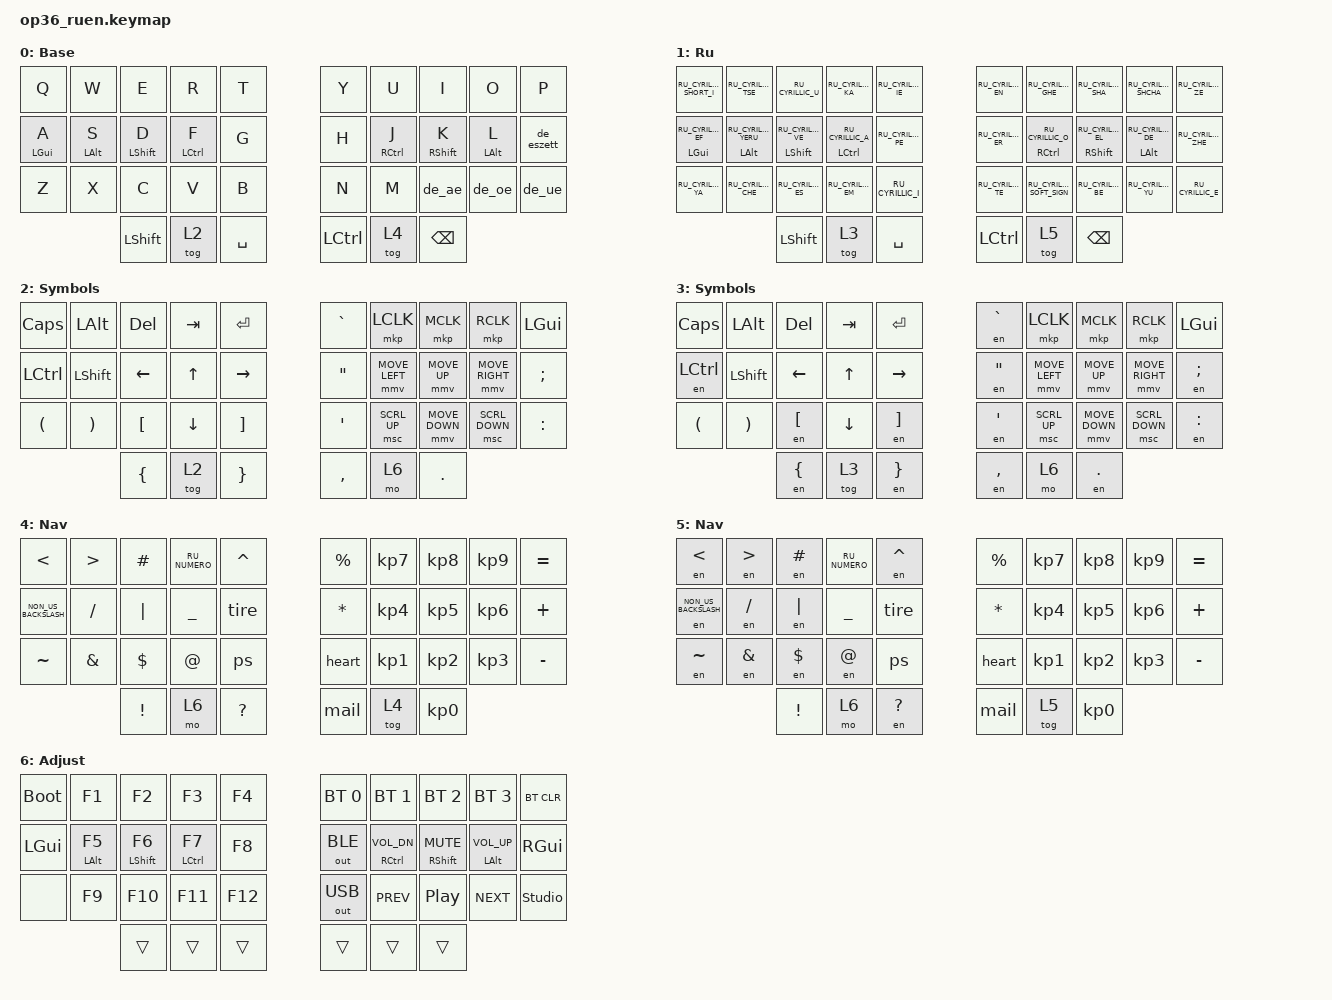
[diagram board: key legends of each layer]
#include "keys_ru.h"
#include "keys_ru.h"
#include <behaviors.dtsi>
#include <dt-bindings/zmk/bt.h>
#include <dt-bindings/zmk/keys.h>
#include <dt-bindings/zmk/outputs.h>
#include <dt-bindings/zmk/pointing.h>

#define HOST_OS 1

#include "zmk-helpers/helper.h"
#include "zmk-helpers/unicode-chars/german.dtsi"

&mt {
    quick-tap-ms = <200>;
    flavor = "tap-preferred";
    require-prior-idle-ms = <125>;
};

/ {
    behaviors {
        hml: home_row_mod_left {
            compatible = "zmk,behavior-hold-tap";
            #binding-cells = <2>;
            flavor = "balanced";
            require-prior-idle-ms = <150>;
            tapping-term-ms = <280>;
            quick-tap-ms = <175>;
            bindings = <&kp>, <&kp>;

            hold-trigger-key-positions = <5 6 7 8 9 15 16 17 18 19 25 26 27 28 29 33 34 35>;
            hold-trigger-on-release;
        };

        hmr: home_row_mod_right {
            compatible = "zmk,behavior-hold-tap";
            #binding-cells = <2>;
            flavor = "balanced";
            require-prior-idle-ms = <150>;
            tapping-term-ms = <280>;
            quick-tap-ms = <175>;
            bindings = <&kp>, <&kp>;

            hold-trigger-key-positions = <0 1 2 3 4 10 11 12 13 14 20 21 22 23 24 30 31 32>;
            hold-trigger-on-release;
        };
    };

    combos {
        compatible = "zmk,combos";

        kha {
            bindings = <&kp RU_CYRILLIC_HA>;
            key-positions = <6 7>;
            layers = <1>;
        };

        hrdsgn {
            bindings = <&kp RU_CYRILLIC_HARD_SIGN>;
            key-positions = <7 8>;
            layers = <1>;
        };

        cmben {
            bindings = <&layer_en>;
            key-positions = <2 3>;
            layers = <1>;
        };

        cmbru {
            bindings = <&layer_ru>;
            key-positions = <2 3>;
            layers = <0>;
        };

        yo {
            bindings = <&kp RU_CYRILLIC_IO>;
            key-positions = <3 4>;
        };
    };

    macros {
        to_ru: to_ru {
            compatible = "zmk,behavior-macro";
            #binding-cells = <0>;
            bindings = <&kp LG(SPACE)>;
            label = "TO_RU";
            wait-ms = <0>;
            tap-ms = <30>;
        };

        to_en: to_en {
            compatible = "zmk,behavior-macro";
            #binding-cells = <0>;
            bindings = <&kp LS(LG(SPACE))>;
            label = "TO_EN";
            wait-ms = <0>;
            tap-ms = <30>;
        };

        layer_en: layer_en {
            compatible = "zmk,behavior-macro";
            #binding-cells = <0>;
            bindings = <&to 0 &to_en>;
            label = "LAYER_EN";
            wait-ms = <0>;
            tap-ms = <30>;
        };

        layer_ru: layer_ru {
            compatible = "zmk,behavior-macro";
            #binding-cells = <0>;
            bindings = <&to 1 &to_ru>;
            label = "LAYER_RU";
            tap-ms = <30>;
            wait-ms = <0>;
        };

        en: en {
            compatible = "zmk,behavior-macro-one-param";
            #binding-cells = <1>;
            bindings =
                <&to_en>,
                <&macro_press>,
                <&macro_param_1to1 &kp MACRO_PLACEHOLDER>,
                <&macro_pause_for_release>,
                <&macro_release>,
                <&macro_param_1to1 &kp MACRO_PLACEHOLDER>,
                <&macro_tap>,
                <&to_ru>;

            label = "EN";
            wait-ms = <0>;
            tap-ms = <30>;
        };

        mail: mail {
            compatible = "zmk,behavior-macro";
            #binding-cells = <0>;
            bindings = <&kp M &kp A &kp R &kp G &kp A &kp R &kp E &kp T &kp DOT &kp O &kp R &kp O &kp B &kp E &kp T &kp S &kp AT &kp G &kp M &kp A &kp I &kp L &kp DOT &kp C &kp O &kp M>;
            label = "MAIL";
        };

        heart: heart {
            compatible = "zmk,behavior-macro";
            #binding-cells = <0>;
            bindings = <&sk LC(LS(U)) &kp N2 &kp N6 &kp N6 &kp N1 &kp SPACE>;
        };

        tire: tire {
            compatible = "zmk,behavior-macro";
            #binding-cells = <0>;
            bindings = <&sk LC(LS(U)) &kp N2 &kp N0 &kp N1 &kp N4 &kp SPACE>;
        };

        ps: ps {
            compatible = "zmk,behavior-macro";
            #binding-cells = <0>;
            bindings = <&kp N2 &kp N0 &kp N2 &kp N6>;
            label = "PS";
        };
    };

    keymap {
        compatible = "zmk,keymap";

        en {
            bindings = <
  &kp Q        &kp W        &kp E         &kp R           &kp T                                  &kp Y   &kp U          &kp I         &kp O        &kp P
  &hml LGUI A  &hml LALT S  &hml LSHFT D  &hml LCTRL F    &kp G                                  &kp H   &hmr RCTRL J   &hmr RSHFT K  &hmr LALT L  &de_eszett
  &kp Z        &kp X        &kp C         &kp V           &kp B                                  &kp N   &kp M          &de_ae        &de_oe       &de_ue
                                          &kp LEFT_SHIFT  &tog 2  &kp SPACE    &kp LEFT_CONTROL  &tog 4  &kp BACKSPACE
            >;

            display-name = "Base";
        };

        ru {
            bindings = <
  &kp RU_CYRILLIC_SHORT_I   &kp RU_CYRILLIC_TSE         &kp RU_CYRILLIC_U          &kp RU_CYRILLIC_KA        &kp RU_CYRILLIC_IE                                 &kp RU_CYRILLIC_EN  &kp RU_CYRILLIC_GHE        &kp RU_CYRILLIC_SHA        &kp RU_CYRILLIC_SHCHA     &kp RU_CYRILLIC_ZE
  &hml LGUI RU_CYRILLIC_EF  &hml LALT RU_CYRILLIC_YERU  &hml LSHFT RU_CYRILLIC_VE  &hml LCTRL RU_CYRILLIC_A  &kp RU_CYRILLIC_PE                                 &kp RU_CYRILLIC_ER  &hmr RCTRL RU_CYRILLIC_O   &hmr RSHFT RU_CYRILLIC_EL  &hmr LALT RU_CYRILLIC_DE  &kp RU_CYRILLIC_ZHE
  &kp RU_CYRILLIC_YA        &kp RU_CYRILLIC_CHE         &kp RU_CYRILLIC_ES         &kp RU_CYRILLIC_EM        &kp RU_CYRILLIC_I                                  &kp RU_CYRILLIC_TE  &kp RU_CYRILLIC_SOFT_SIGN  &kp RU_CYRILLIC_BE         &kp RU_CYRILLIC_YU        &kp RU_CYRILLIC_E
                                                                                   &kp LEFT_SHIFT            &tog 3              &kp SPACE    &kp LEFT_CONTROL  &tog 5              &kp BACKSPACE
            >;

            display-name = "Ru";
        };

        sym_en {
            bindings = <
  &kp CAPSLOCK          &kp LEFT_ALT           &kp DELETE        &kp TAB         &kp ENTER                                        &kp GRAVE          &mkp LCLK       &mkp MCLK       &mkp RCLK        &kp LEFT_GUI
  &kp LEFT_CONTROL      &kp LEFT_SHIFT         &kp LEFT          &kp UP          &kp RIGHT_ARROW                                  &kp DOUBLE_QUOTES  &mmv MOVE_LEFT  &mmv MOVE_UP    &mmv MOVE_RIGHT  &kp SEMICOLON
  &kp LEFT_PARENTHESIS  &kp RIGHT_PARENTHESIS  &kp LEFT_BRACKET  &kp DOWN_ARROW  &kp RIGHT_BRACKET                                &kp APOSTROPHE     &msc SCRL_UP    &mmv MOVE_DOWN  &msc SCRL_DOWN   &kp COLON
                                                                 &kp LEFT_BRACE  &tog 2             &kp RIGHT_BRACE    &kp COMMA  &mo 6              &kp PERIOD
            >;

            display-name = "Symbols";
        };

        sym_ru {
            bindings = <
  &kp CAPSLOCK          &kp LEFT_ALT           &kp DELETE        &kp TAB         &kp ENTER                                        &en GRAVE          &mkp LCLK       &mkp MCLK       &mkp RCLK        &kp LEFT_GUI
  &en LEFT_CONTROL      &kp LEFT_SHIFT         &kp LEFT          &kp UP          &kp RIGHT_ARROW                                  &en DOUBLE_QUOTES  &mmv MOVE_LEFT  &mmv MOVE_UP    &mmv MOVE_RIGHT  &en SEMICOLON
  &kp LEFT_PARENTHESIS  &kp RIGHT_PARENTHESIS  &en LEFT_BRACKET  &kp DOWN_ARROW  &en RIGHT_BRACKET                                &en APOSTROPHE     &msc SCRL_UP    &mmv MOVE_DOWN  &msc SCRL_DOWN   &en COLON
                                                                 &en LEFT_BRACE  &tog 3             &en RIGHT_BRACE    &en COMMA  &mo 6              &en PERIOD
            >;

            display-name = "Symbols";
        };

        sym_2_en {
            bindings = <
  &kp LESS_THAN         &kp GREATER_THAN  &kp POUND   &kp RU_NUMERO    &kp CARET                         &kp PERCENT   &kp KP_NUMBER_7  &kp KP_NUMBER_8  &kp KP_NUMBER_9  &kp EQUAL
  &kp NON_US_BACKSLASH  &kp SLASH         &kp PIPE    &kp UNDERSCORE   &tire                             &kp ASTERISK  &kp KP_NUMBER_4  &kp KP_NUMBER_5  &kp KP_NUMBER_6  &kp PLUS
  &kp TILDE             &kp AMPERSAND     &kp DOLLAR  &kp AT_SIGN      &ps                               &heart        &kp KP_NUMBER_1  &kp KP_NUMBER_2  &kp KP_NUMBER_3  &kp MINUS
                                                      &kp EXCLAMATION  &mo 6      &kp QUESTION    &mail  &tog 4        &kp KP_NUMBER_0
            >;

            display-name = "Nav";
        };

        sym_2_ru {
            display-name = "Nav";
            bindings = <
  &en LESS_THAN         &en GREATER_THAN  &en POUND   &kp RU_NUMERO    &en CARET                         &kp PERCENT   &kp KP_NUMBER_7  &kp KP_NUMBER_8  &kp KP_NUMBER_9  &kp EQUAL
  &en NON_US_BACKSLASH  &en SLASH         &en PIPE    &kp UNDERSCORE   &tire                             &kp ASTERISK  &kp KP_NUMBER_4  &kp KP_NUMBER_5  &kp KP_NUMBER_6  &kp PLUS
  &en TILDE             &en AMPERSAND     &en DOLLAR  &en AT_SIGN      &ps                               &heart        &kp KP_NUMBER_1  &kp KP_NUMBER_2  &kp KP_NUMBER_3  &kp MINUS
                                                      &kp EXCLAMATION  &mo 6      &en QUESTION    &mail  &tog 5        &kp KP_NUMBER_0
            >;
        };

        adj {
            bindings = <
  &bootloader  &kp F1        &kp F2         &kp F3         &kp F4                     &bt BT_SEL 0  &bt BT_SEL 1         &bt BT_SEL 2       &bt BT_SEL 3        &bt BT_CLR
  &kp LGUI     &hml LALT F5  &hml LSHFT F6  &hml LCTRL F7  &kp F8                     &out OUT_BLE  &hmr RCTRL C_VOL_DN  &hmr RSHFT C_MUTE  &hmr LALT C_VOL_UP  &kp RGUI
  &none        &kp F9        &kp F10        &kp F11        &kp F12                    &out OUT_USB  &kp C_PREV           &kp C_PP           &kp C_NEXT          &studio_unlock
                                            &trans         &trans   &trans    &trans  &trans        &trans
            >;

            display-name = "Adjust";
        };
    };
};
